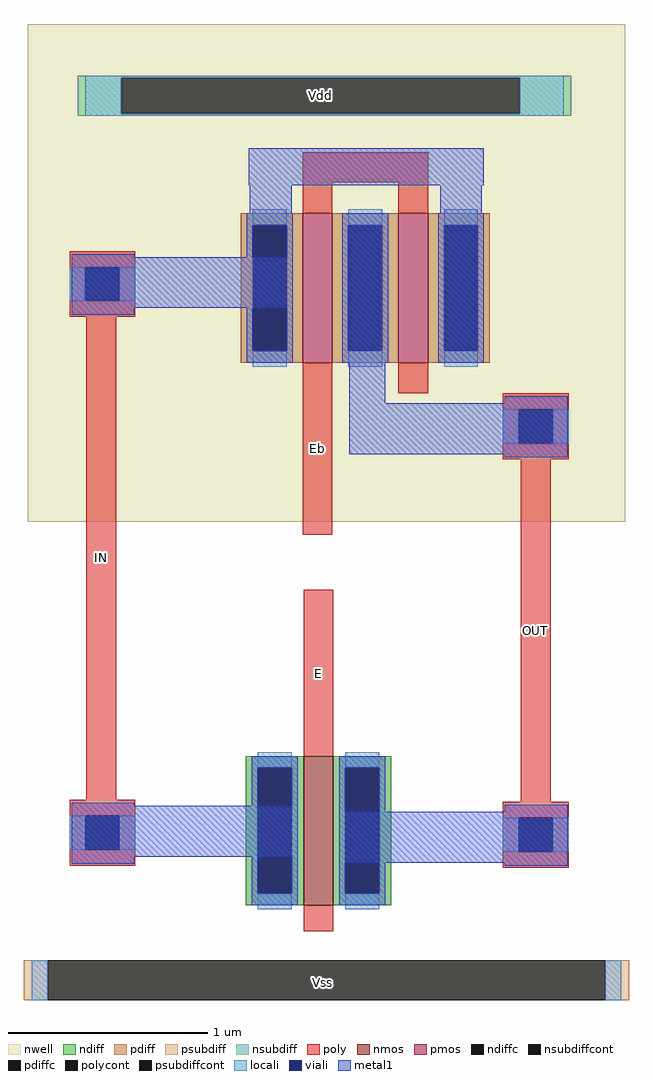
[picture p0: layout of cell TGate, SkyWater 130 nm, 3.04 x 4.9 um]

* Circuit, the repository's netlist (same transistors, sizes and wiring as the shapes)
** sch_path: /home/designer/icdesign/sch//TGate/tgate.sch
**.subckt tgate OUT IN Eb E Vdd Vss
*.opin OUT
*.ipin IN
*.ipin Eb
*.ipin E
*.ipin Vdd
*.ipin Vss
XM1 IN E OUT Vss sky130_fd_pr__nfet_01v8 L=0.15 W=0.75 nf=1 ad='int((nf+1)/2) * W/nf * 0.29' as='int((nf+2)/2) * W/nf * 0.29'
+ pd='2*int((nf+1)/2) * (W/nf + 0.29)' ps='2*int((nf+2)/2) * (W/nf + 0.29)' nrd='0.29 / W' nrs='0.29 / W'
+ sa=0 sb=0 sd=0 mult=1 m=1
XM2 IN Eb OUT Vdd sky130_fd_pr__pfet_01v8 L=0.15 W=0.75 nf=1 ad='int((nf+1)/2) * W/nf * 0.29' as='int((nf+2)/2) * W/nf * 0.29'
+ pd='2*int((nf+1)/2) * (W/nf + 0.29)' ps='2*int((nf+2)/2) * (W/nf + 0.29)' nrd='0.29 / W' nrs='0.29 / W'
+ sa=0 sb=0 sd=0 mult=2 m=2
**.ends
.end

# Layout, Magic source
magic
tech sky130A
magscale 1 2
<< poly >>
rect 280 825 406 855
rect 63 202 93 694
rect 280 471 310 613
rect 281 274 311 416
rect 499 201 529 548
<< metal1 >>
rect 226 822 462 859
rect 227 791 269 822
rect 51 699 267 750
rect 327 603 363 791
rect 418 648 460 822
rect 327 552 543 603
rect 59 148 275 199
rect 320 142 536 193
use 5umcell_template  5umcell_template_0 ~/icdesign/mag/Plantilla
transform 1 0 4 0 1 -16
box -4 14 604 1000
use pfet_w075_2f  pfet_w075_2f_0 ~/icdesign/mag/PFET_W075_2F
transform 1 0 182 0 1 544
box 0 0 322 350
use sky130_fd_pr__nfet_01v8_SJ5Z6H  sky130_fd_pr__nfet_01v8_SJ5Z6H_0 ~/icdesign/mag/NOR
transform 1 0 296 0 1 174
box -73 -101 73 101
use via  via_0 ~/icdesign/mag/Via
transform 1 0 450 0 1 368
box 31 179 97 245
use via  via_1
transform 1 0 450 0 1 -42
box 31 179 97 245
use via  via_2
transform 1 0 15 0 1 511
box 31 179 97 245
use via  via_3
transform 1 0 15 0 1 -40
box 31 179 97 245
<< labels >>
rlabel space 98 894 498 930 1 Vdd
rlabel space 499 187 529 563 1 OUT
rlabel space 280 471 310 644 1 Eb
rlabel space 281 248 311 416 1 E
rlabel poly 63 202 93 694 1 IN
rlabel space 100 4 500 40 1 Vss
<< end >>

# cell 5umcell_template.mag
magic
tech sky130A
<< nwell >>
rect 0 250 300 500
<< psubdiff >>
rect -2 10 10 30
rect 290 10 302 30
<< nsubdiff >>
rect 25 473 273 474
rect 25 455 47 473
rect 247 455 273 473
rect 25 454 273 455
<< psubdiffcont >>
rect 10 10 290 30
<< nsubdiffcont >>
rect 47 455 247 473
<< locali >>
rect 29 473 269 474
rect 29 455 47 473
rect 247 455 269 473
rect 29 454 269 455
rect 2 10 10 30
rect 290 10 298 30
<< end >>

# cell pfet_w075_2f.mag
magic
tech sky130A
magscale 1 2
use sky130_fd_pr__pfet_01v8_52C9FB  sky130_fd_pr__pfet_01v8_52C9FB_0
transform 1 0 161 0 1 175
box -161 -175 161 175
<< end >>

# cell sky130_fd_pr__nfet_01v8_SJ5Z6H: kit device sky130_fd_pr__nfet_01v8, w 0.75 l 0.150 m 1 nf 1 diffcov 100 polycov 100 guard 0 glc 0 grc 0 gtc 0 gbc 0 tbcov 100 rlcov 100 topc 0 botc 0 poverlap 0 doverlap 0 lmin 0.15 wmin 0.42 compatible {sky130_fd_pr__nfet_01v8 sky130_fd_pr__nfet_01v8_lvt sky130_fd_bs_flash__special_sonosfet_star sky130_fd_pr__nfet_g5v0d10v5 sky130_fd_pr__nfet_05v0_nvt sky130_fd_pr__nfet_03v3_nvt} full_metal 0 viasrc 100 viadrn 100 viagate 100 viagb 0 viagr 0 viagl 0 viagt 0

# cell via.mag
magic
tech sky130A
magscale 1 2
use sky130_fd_pr__nfet_01v8_78R7PC  sky130_fd_pr__nfet_01v8_78R7PC_0
transform 1 0 64 0 1 113
box -33 66 33 132
<< end >>

# cell sky130_fd_pr__nfet_01v8_78R7PC: kit device sky130_fd_pr__nfet_01v8, w 0.75 l 0.150 m 1 nf 1 diffcov 100 polycov 100 guard 0 glc 0 grc 0 gtc 0 gbc 0 tbcov 100 rlcov 100 topc 1 botc 0 poverlap 0 doverlap 0 lmin 0.15 wmin 0.42 compatible {sky130_fd_pr__nfet_01v8 sky130_fd_pr__nfet_01v8_lvt sky130_fd_bs_flash__special_sonosfet_star sky130_fd_pr__nfet_g5v0d10v5 sky130_fd_pr__nfet_05v0_nvt sky130_fd_pr__nfet_03v3_nvt} full_metal 0 viasrc 100 viadrn 100 viagate 100 viagb 0 viagr 0 viagl 0 viagt 0

# cell sky130_fd_pr__pfet_01v8_52C9FB: kit device sky130_fd_pr__pfet_01v8, w 0.75 l 0.15 m 1 nf 2 diffcov 100 polycov 100 guard 0 glc 0 grc 0 gtc 0 gbc 0 tbcov 100 rlcov 100 topc 0 botc 0 poverlap 0 doverlap 1 lmin 0.15 wmin 0.42 compatible {sky130_fd_pr__pfet_01v8 sky130_fd_pr__pfet_01v8_lvt sky130_fd_pr__pfet_01v8_hvt sky130_fd_pr__pfet_g5v0d10v5} full_metal 0 viasrc 100 viadrn 100 viagate 100 viagb 0 viagr 0 viagl 0 viagt 0
